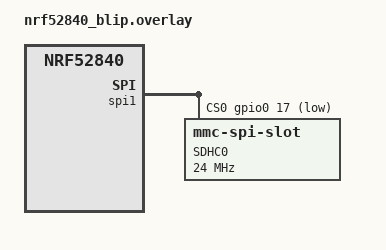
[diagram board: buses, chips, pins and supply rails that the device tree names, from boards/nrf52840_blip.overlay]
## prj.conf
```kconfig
CONFIG_DISK_ACCESS=y
CONFIG_LOG=y
CONFIG_LOG_MODE_IMMEDIATE=y
CONFIG_FILE_SYSTEM=y
CONFIG_FAT_FILESYSTEM_ELM=y
CONFIG_PRINTK=y
CONFIG_MAIN_STACK_SIZE=2048

CONFIG_LOG_DEFAULT_LEVEL=4
CONFIG_LOG_MAX_LEVEL=4
CONFIG_CBPRINTF_FP_SUPPORT=y
```

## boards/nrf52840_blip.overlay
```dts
/*
 * Copyright (c) 2019 Tavish Naruka <tavishnaruka@gmail.com>
 *
 * SPDX-License-Identifier: Apache-2.0
 */

&spi1 {
        status = "okay";
        cs-gpios = <&gpio0 17 (GPIO_PULL_UP | GPIO_ACTIVE_LOW)>;

        sdhc0: sdhc@0 {
                compatible = "zephyr,mmc-spi-slot";
                reg = <0>;
                status = "okay";
                label = "SDHC0";
                spi-max-frequency = <24000000>;
        };
};
```

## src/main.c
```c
/*
 * Copyright (c) 2019 Tavish Naruka <tavishnaruka@gmail.com>
 *
 * SPDX-License-Identifier: Apache-2.0
 */

/* Sample which uses the filesystem API and SDHC driver */

#include <zephyr.h>
#include <device.h>
#include <storage/disk_access.h>
#include <logging/log.h>
#include <fs/fs.h>
#include <ff.h>

LOG_MODULE_REGISTER(main);

static int lsdir(const char *path);

static FATFS fat_fs;
/* mounting info */
static struct fs_mount_t mp = {
	.type = FS_FATFS,
	.fs_data = &fat_fs,
};

/*
*  Note the fatfs library is able to mount only strings inside _VOLUME_STRS
*  in ffconf.h
*/
static const char *disk_mount_pt = "/SD:";

/* -------------------------------------------------------------------------- */
void disk_io_test()
{
	do {
		static const char *disk_pdrv = "SD";
		uint64_t memory_size_mb;
		uint32_t block_count;
		uint32_t block_size;

		if (disk_access_init(disk_pdrv) != 0) {
			LOG_ERR("Storage init ERROR!");
			break;
		}

		if (disk_access_ioctl(disk_pdrv, DISK_IOCTL_GET_SECTOR_COUNT, &block_count)) {
			LOG_ERR("Unable to get sector count");
			break;
		}
		LOG_INF("Block count %u", block_count);

		if (disk_access_ioctl(disk_pdrv, DISK_IOCTL_GET_SECTOR_SIZE, &block_size)) {
			LOG_ERR("Unable to get sector size");
			break;
		}
		LOG_INF("Sector size %u", block_size);

		memory_size_mb = (uint64_t)block_count * block_size;
		LOG_INF("Memory Size(MB) %u", (uint32_t)(memory_size_mb >> 20));
	} while (0);
}
/* -------------------------------------------------------------------------- */
int disk_mount()
{
	LOG_INF("disk_mount()");
	mp.mnt_point = disk_mount_pt;
	int res = fs_mount(&mp);

	if (res == FR_OK) {
		LOG_INF("Disk mounted.");
	} else {
		LOG_ERR("Disk mounting error=%d", res);
	}
	return res;
}
/* -------------------------------------------------------------------------- */
int disk_unmount()
{
	LOG_INF("disk_unmount()");
	mp.mnt_point = disk_mount_pt;
	int res = fs_unmount(&mp);

	if (res == 0) {
		LOG_INF("Disk unmounted.");
	} else {
		LOG_ERR("Disk unmounting error=%d", res);
	}
	return res;
}
/* -------------------------------------------------------------------------- */
#include <stdio.h>
#include <stdlib.h>

static struct fs_file_t file;

int disk_open_file(const char *path)
{
	LOG_INF("disk_open_file()");

	fs_mode_t flags = FS_O_WRITE | FS_O_CREATE;
	fs_file_t_init(&file);
	int res = 0;

	res = fs_open(&file, path, flags);
	if (res != 0) {
		LOG_ERR("file %s not created/opened. err=%d", log_strdup(path), res);
		return res;
	}
	LOG_INF("file %s created.", log_strdup(path));

	return 0;
}

int disk_close_file(void)
{
	LOG_INF("disk_close_file()");

	int res = fs_close(&file);
	if (res != 0) {
		LOG_ERR("file not closed. err=%d", res);
		return res;
	}
	LOG_INF("file closed");

	return 0;
}

/* -------------------------------------------------------------------------- */
static char out_str[128];

int write()
{
	int res = 0;
	for (int j = 0; j < 30; j++) {
		int written = snprintf(out_str, sizeof(out_str) - 1, "%.6lf, %.6lf, %.6lf\r\n",
				       j * 1.0, j * -1.0, j * 1.0);
		res = fs_write(&file, out_str, written);
		if (res < 0)
			break;
	}
	return res;
}
/* -------------------------------------------------------------------------- */
int sequential_write_test_0()
{
	int res = 0;
	res = disk_open_file("/SD:/test0.csv");
	res = write();
	res = disk_close_file();
	return res;
}
/* -------------------------------------------------------------------------- */
int sequential_write_test_1()
{
	int res = 0;
	res = disk_open_file("/SD:/test1.csv");

	for (int i = 0; i < 1000; i++) {
		LOG_INF("%d\n", i);
		res = write();
		if (res < 0)
			break;
	}

	res = disk_close_file();
	return res;
}
/* -------------------------------------------------------------------------- */
int sequential_write_test_2()
{
	int res = 0;
	res = disk_open_file("/SD:/test2.csv");

	for (int i = 0; i < 1000000; i++) {
		if (i % 100 == 0) {
			LOG_INF("%d\n", i);
		}
		res = write();
		if (res < 0) {
			LOG_INF("%d\n", i);
			break;
		}
	}

	res = disk_close_file();
	return res;
}
/* -------------------------------------------------------------------------- */
int sequential_write_test_3()
{
	int res = 0;

	for (int i = 0; i < 1000000; i++) {
		res = disk_open_file("/SD:/test3.csv");
		if (i % 100 == 0) {
			LOG_INF("%d\n", i);
		}
		res = write();
		if (res < 0) {
			LOG_INF("%d\n", i);
			break;
		}
		res = disk_close_file();
	}

	return res;
}
/* -------------------------------------------------------------------------- */
int sequential_write_test_4()
{
	int res = 0;

	for (int i = 0; i < 1000000; i++) {
		res = disk_mount();
		res = disk_open_file("/SD:/test4.csv");
		if (i % 100 == 0) {
			LOG_INF("%d\n", i);
		}
		res = write();
		if (res < 0) {
			LOG_INF("%d\n", i);
			break;
		}
		res = disk_close_file();
		res = disk_unmount();
	}

	return res;
}
/* -------------------------------------------------------------------------- */

/* -------------------------------------------------------------------------- */
void main(void)
{
	/* raw disk i/o */
	disk_io_test();

	disk_mount();

	lsdir(disk_mount_pt);

	sequential_write_test_4();

	lsdir(disk_mount_pt);

	disk_unmount();
}

static int lsdir(const char *path)
{
	int res;
	struct fs_dir_t dirp;
	static struct fs_dirent entry;

	fs_dir_t_init(&dirp);

	/* Verify fs_opendir() */
	res = fs_opendir(&dirp, path);
	if (res) {
		printk("Error opening dir %s [%d]\n", path, res);
		return res;
	}

	printk("\nListing dir %s ...\n", path);
	for (;;) {
		/* Verify fs_readdir() */
		res = fs_readdir(&dirp, &entry);

		/* entry.name[0] == 0 means end-of-dir */
		if (res || entry.name[0] == 0) {
			break;
		}

		if (entry.type == FS_DIR_ENTRY_DIR) {
			printk("[DIR ] %s\n", entry.name);
		} else {
			printk("[FILE] %s (size = %zu)\n", entry.name, entry.size);
		}
	}
	printk("[\n\n");

	/* Verify fs_closedir() */
	fs_closedir(&dirp);

	return res;
}
```
